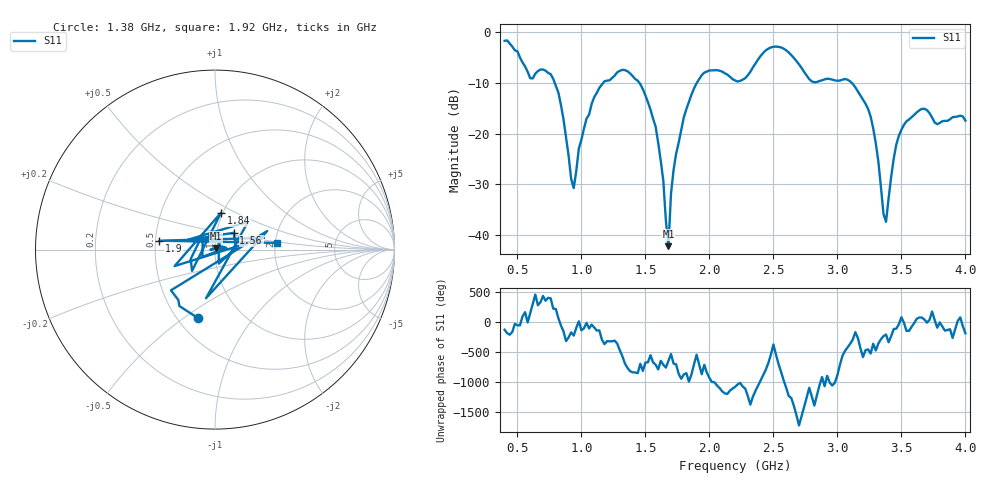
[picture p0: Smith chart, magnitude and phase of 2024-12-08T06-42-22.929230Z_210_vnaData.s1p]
!Created with skrf (http://scikit-rf.org).
# Hz S RI R 50.0
!freq ReS11 ImS11
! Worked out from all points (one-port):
!   181 points, 400 MHz to 4 GHz, reference 50 ohm
!   lowest |S11| = -42.2 dB at 1.68 GHz (marker M1), VSWR 1.02, Z = 50.3 + j0.715 ohm
!   |S11| at or under -10 dB: 792.3 MHz to 1.169 GHz (376.7 MHz wide, 38.4 % of centre); 1.454 GHz to 1.9 GHz (446.4 MHz wide, 26.6 % of centre); 3.114 GHz to end of sweep
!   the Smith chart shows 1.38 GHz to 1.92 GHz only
!   S11 on the Smith chart (normalised r, x): 1.38 GHz: 0.63, -0.57; 1.56 GHz: 1.21, +0.23; 1.84 GHz: 0.98, +0.42; 1.9 GHz: 0.52, +0.06; 1.92 GHz: 2.04, +0.17
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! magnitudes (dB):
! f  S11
! 400 MHz  -1.6
! 600 MHz  -9.0
! 760 MHz  -8.2
! 860 MHz  -17.2
! 940 MHz  -30.8
! 980 MHz  -22.9
! 1.1 GHz  -12.8
! 1.3 GHz  -7.6
! 1.38 GHz  -8.1
! 1.56 GHz  -17.0
! 1.64 GHz  -29.3
! 1.68 GHz  -42.2
! 1.7 GHz  -31.8
! 1.76 GHz  -21.8
! 1.84 GHz  -13.7
! 1.9 GHz  -10.0
! 1.92 GHz  -9.2
! 2.2 GHz  -9.5
! 2.48 GHz  -3.0
! 2.66 GHz  -5.0
! 2.8 GHz  -9.7
! 3.1 GHz  -9.7
! 3.26 GHz  -16.6
! 3.38 GHz  -37.4
! 3.46 GHz  -22.2
! 3.56 GHz  -17.2
! 3.68 GHz  -15.1
! 4 GHz  -17.4
